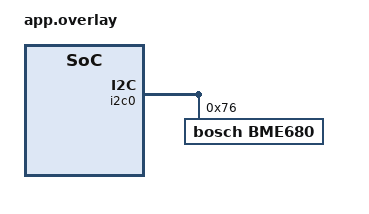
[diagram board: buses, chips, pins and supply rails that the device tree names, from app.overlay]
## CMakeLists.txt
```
# Copyright The Zephyr Project Contributors
# SPDX-License-Identifier: Apache-2.0

cmake_minimum_required(VERSION 3.28.0)
find_package(Zephyr REQUIRED HINTS $ENV{ZEPHYR_BASE})
project(bme680)

target_include_directories(app PRIVATE ${ZEPHYR_BASE}/drivers/sensor/bosch/bme680)
target_sources(app PRIVATE src/main.c)
```

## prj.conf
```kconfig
# Copyright The Zephyr Project Contributors
# SPDX-License-Identifier: Apache-2.0

CONFIG_ZTEST=y
CONFIG_SENSOR=y
CONFIG_SENSOR_ASYNC_API=y
CONFIG_I2C_RTIO=y
# For the emulated I2C controller of native_sim; no emulator backs the device
CONFIG_EMUL=y
# Device init fails without an emulator, only the decoder is tested
CONFIG_SENSOR_LOG_LEVEL_OFF=y
```

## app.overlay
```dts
/*
 * Copyright The Zephyr Project Contributors
 *
 * SPDX-License-Identifier: Apache-2.0
 */

&i2c0 {
	bme680: bme680@76 {
		compatible = "bosch,bme680";
		reg = <0x76>;
	};
};
```

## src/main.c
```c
/*
 * Copyright The Zephyr Project Contributors
 *
 * SPDX-License-Identifier: Apache-2.0
 */

#include <string.h>

#include <zephyr/drivers/sensor.h>
#include <zephyr/ztest.h>

#include "bme680.h"

#define TIMESTAMP_NS 123456789012ULL

static const struct sensor_decoder_api *decoder = SENSOR_DECODER_DT_GET(DT_NODELABEL(bme680));

struct chan_desc {
	enum sensor_channel chan;
	int8_t shift;
	/* Value of one LSB of the compensated value in micro-units of the channel */
	int64_t micro_per_lsb;
	/* Allowed error of a decoded value in micro-units */
	int64_t tolerance;
};

static const struct chan_desc chan_temp = {SENSOR_CHAN_AMBIENT_TEMP, BME680_TEMP_SHIFT, 10000, 2};
static const struct chan_desc chan_press = {SENSOR_CHAN_PRESS, BME680_PRESS_SHIFT, 1000, 2};
static const struct chan_desc chan_hum = {SENSOR_CHAN_HUMIDITY, BME680_HUM_SHIFT, 1000, 2};
static const struct chan_desc chan_gas = {SENSOR_CHAN_GAS_RES, BME680_GAS_SHIFT, 1000000, 10000};

static int64_t q31_to_micro(q31_t value, int8_t shift)
{
	return ((int64_t)value * 1000000) >> (31 - shift);
}

static q31_t raw_to_q31(const struct chan_desc *desc, int64_t raw)
{
	int64_t value = raw * ((int64_t)1 << (31 - desc->shift)) / (1000000 / desc->micro_per_lsb);

	return (q31_t)CLAMP(value, INT32_MIN, INT32_MAX);
}

static struct bme680_encoded_data make_edata(int32_t temp, uint32_t press, uint32_t hum,
					     uint32_t gas)
{
	return (struct bme680_encoded_data){
		.header.timestamp = TIMESTAMP_NS,
		.has_temp = 1,
		.has_press = 1,
		.has_humidity = 1,
		.has_gas = 1,
		.reading = {
			.comp_temp = temp,
			.comp_press = press,
			.comp_humidity = hum,
			.comp_gas = gas,
		},
	};
}

static void check_reading(const struct sensor_q31_data *out, const struct chan_desc *desc,
			  int64_t raw)
{
	int64_t expected = raw * desc->micro_per_lsb;
	int64_t actual;

	zassert_equal(out->header.reading_count, 1);
	zassert_equal(out->header.base_timestamp_ns, TIMESTAMP_NS);
	zassert_equal(out->readings[0].timestamp_delta, 0);
	zassert_equal(out->shift, desc->shift, "chan %d: shift %d", desc->chan, out->shift);

	actual = q31_to_micro(out->readings[0].value, out->shift);
	zassert_within(actual, expected, desc->tolerance, "chan %d: got %lld, expected %lld",
		       desc->chan, actual, expected);

	/* Exact value, truncated toward zero */
	zassert_equal(out->readings[0].value, raw_to_q31(desc, raw));
}

/* Decode a channel carrying one reading, in one call and with max_count = 1 */
static void check_chan(const uint8_t *buffer, const struct chan_desc *desc, int64_t raw)
{
	const struct sensor_chan_spec chan = {desc->chan, 0};
	struct {
		struct sensor_q31_data data;
		struct sensor_q31_sample_data extra[3];
	} out;
	uint16_t frame_count;
	uint32_t fit = 0;

	zassert_ok(decoder->get_frame_count(buffer, chan, &frame_count));
	zassert_equal(frame_count, 1);

	zassert_equal(decoder->decode(buffer, chan, &fit, 4, &out), 1);
	check_reading(&out.data, desc, raw);
	zassert_equal(decoder->decode(buffer, chan, &fit, 4, &out), 0);

	fit = 0;
	memset(&out, 0, sizeof(out));
	zassert_equal(decoder->decode(buffer, chan, &fit, 1, &out), 1);
	check_reading(&out.data, desc, raw);
	zassert_equal(decoder->decode(buffer, chan, &fit, 1, &out), 0);
}

/* Check that a failed decode() left the output and the iterator untouched */
static void check_untouched(const struct sensor_q31_data *out, uint32_t fit)
{
	struct sensor_q31_data pattern;

	memset(&pattern, 0xa5, sizeof(pattern));
	zassert_mem_equal(out, &pattern, sizeof(pattern));
	zassert_equal(fit, 0);
}

static void check_no_data(const uint8_t *buffer, const struct chan_desc *desc)
{
	const struct sensor_chan_spec chan = {desc->chan, 0};
	struct sensor_q31_data out;
	uint16_t frame_count;
	uint32_t fit = 0;

	zassert_ok(decoder->get_frame_count(buffer, chan, &frame_count));
	zassert_equal(frame_count, 0);

	memset(&out, 0xa5, sizeof(out));
	zassert_equal(decoder->decode(buffer, chan, &fit, 1, &out), -ENODATA);
	check_untouched(&out, fit);
}

static void check_unsupported(const uint8_t *buffer, struct sensor_chan_spec chan)
{
	struct sensor_q31_data out;
	size_t base_size;
	size_t frame_size;
	uint16_t frame_count;
	uint32_t fit = 0;

	zassert_equal(decoder->get_size_info(chan, &base_size, &frame_size), -ENOTSUP);
	zassert_equal(decoder->get_frame_count(buffer, chan, &frame_count), -ENOTSUP);

	memset(&out, 0xa5, sizeof(out));
	zassert_equal(decoder->decode(buffer, chan, &fit, 1, &out), -ENOTSUP);
	check_untouched(&out, fit);
}

ZTEST(bme680_decoder, test_size_info)
{
	const enum sensor_channel chans[] = {
		SENSOR_CHAN_AMBIENT_TEMP,
		SENSOR_CHAN_PRESS,
		SENSOR_CHAN_HUMIDITY,
		SENSOR_CHAN_GAS_RES,
	};
	size_t base_size;
	size_t frame_size;

	ARRAY_FOR_EACH(chans, i) {
		zassert_ok(decoder->get_size_info((struct sensor_chan_spec){chans[i], 0},
						  &base_size, &frame_size));
		zassert_equal(base_size, sizeof(struct sensor_q31_data));
		zassert_equal(frame_size, sizeof(struct sensor_q31_sample_data));
	}
}

ZTEST(bme680_decoder, test_all_channels)
{
	/* 23.45 degC, 101.325 kPa, 45.678 %RH, 123456 ohm */
	struct bme680_encoded_data edata = make_edata(2345, 101325, 45678, 123456);
	const uint8_t *buffer = (const uint8_t *)&edata;

	check_chan(buffer, &chan_temp, 2345);
	check_chan(buffer, &chan_press, 101325);
	check_chan(buffer, &chan_hum, 45678);
	check_chan(buffer, &chan_gas, 123456);
}

ZTEST(bme680_decoder, test_limits)
{
	/* -40.00 degC, 30 kPa, 0 and 100 %RH, 1 ohm */
	struct bme680_encoded_data edata = make_edata(-4000, 30000, 0, 1);
	const uint8_t *buffer = (const uint8_t *)&edata;

	check_chan(buffer, &chan_temp, -4000);
	check_chan(buffer, &chan_press, 30000);
	check_chan(buffer, &chan_hum, 0);
	check_chan(buffer, &chan_gas, 1);

	/* 85.00 degC, 110 kPa, 100 %RH, 16 Mohm */
	edata = make_edata(8500, 110000, 100000, 16000000);
	check_chan(buffer, &chan_temp, 8500);
	check_chan(buffer, &chan_press, 110000);
	check_chan(buffer, &chan_hum, 100000);
	check_chan(buffer, &chan_gas, 16000000);
}

ZTEST(bme680_decoder, test_saturation)
{
	struct bme680_encoded_data edata = make_edata(0, UINT32_MAX, UINT32_MAX, 20000000);
	const uint8_t *buffer = (const uint8_t *)&edata;
	struct sensor_q31_data out;
	uint32_t fit;

	/* Gas resistance of 2^24 ohm or more exceeds the range of its shift */
	fit = 0;
	zassert_equal(decoder->decode(buffer, (struct sensor_chan_spec){SENSOR_CHAN_GAS_RES, 0},
				      &fit, 1, &out),
		      1);
	zassert_equal(out.readings[0].resistance, INT32_MAX);

	fit = 0;
	zassert_equal(decoder->decode(buffer, (struct sensor_chan_spec){SENSOR_CHAN_PRESS, 0}, &fit,
				      1, &out),
		      1);
	zassert_equal(out.readings[0].pressure, INT32_MAX);

	fit = 0;
	zassert_equal(decoder->decode(buffer, (struct sensor_chan_spec){SENSOR_CHAN_HUMIDITY, 0},
				      &fit, 1, &out),
		      1);
	zassert_equal(out.readings[0].humidity, INT32_MAX);
}

ZTEST(bme680_decoder, test_missing_channels)
{
	struct bme680_encoded_data edata = {
		.header.timestamp = TIMESTAMP_NS,
		.has_press = 1,
		.reading.comp_press = 95000,
	};
	const uint8_t *buffer = (const uint8_t *)&edata;

	check_chan(buffer, &chan_press, 95000);
	check_no_data(buffer, &chan_temp);
	check_no_data(buffer, &chan_hum);
	check_no_data(buffer, &chan_gas);

	/* A read of an unsupported channel completes without any channel */
	edata.has_press = 0;
	check_no_data(buffer, &chan_press);
}

ZTEST(bme680_decoder, test_unaligned)
{
	struct bme680_encoded_data edata = make_edata(-1234, 99999, 12345, 54321);
	uint8_t storage[sizeof(edata) + 1];
	const uint8_t *buffer = &storage[1];

	memcpy(&storage[1], &edata, sizeof(edata));

	check_chan(buffer, &chan_temp, -1234);
	check_chan(buffer, &chan_press, 99999);
	check_chan(buffer, &chan_hum, 12345);
	check_chan(buffer, &chan_gas, 54321);
}

ZTEST(bme680_decoder, test_max_count_zero)
{
	struct bme680_encoded_data edata = make_edata(2345, 101325, 45678, 123456);
	const uint8_t *buffer = (const uint8_t *)&edata;
	const struct sensor_chan_spec chan = {SENSOR_CHAN_AMBIENT_TEMP, 0};
	struct sensor_q31_data out;
	uint32_t fit = 0;

	zassert_equal(decoder->decode(buffer, chan, &fit, 0, &out), 0);
	zassert_equal(fit, 0);
	zassert_equal(decoder->decode(buffer, chan, &fit, 1, &out), 1);
	check_reading(&out, &chan_temp, 2345);
}

ZTEST(bme680_decoder, test_unsupported)
{
	struct bme680_encoded_data edata = make_edata(2345, 101325, 45678, 123456);
	const uint8_t *buffer = (const uint8_t *)&edata;

	check_unsupported(buffer, (struct sensor_chan_spec){SENSOR_CHAN_ACCEL_XYZ, 0});
	check_unsupported(buffer, (struct sensor_chan_spec){SENSOR_CHAN_VOC, 0});
	check_unsupported(buffer, (struct sensor_chan_spec){SENSOR_CHAN_ALL, 0});
	check_unsupported(buffer, (struct sensor_chan_spec){SENSOR_CHAN_AMBIENT_TEMP, 1});
	check_unsupported(buffer, (struct sensor_chan_spec){SENSOR_CHAN_GAS_RES, 1});

	/* Reads are never streamed, so no buffer carries a trigger */
	zassert_is_null(decoder->has_trigger);
}

ZTEST_SUITE(bme680_decoder, NULL, NULL, NULL, NULL, NULL);
```
